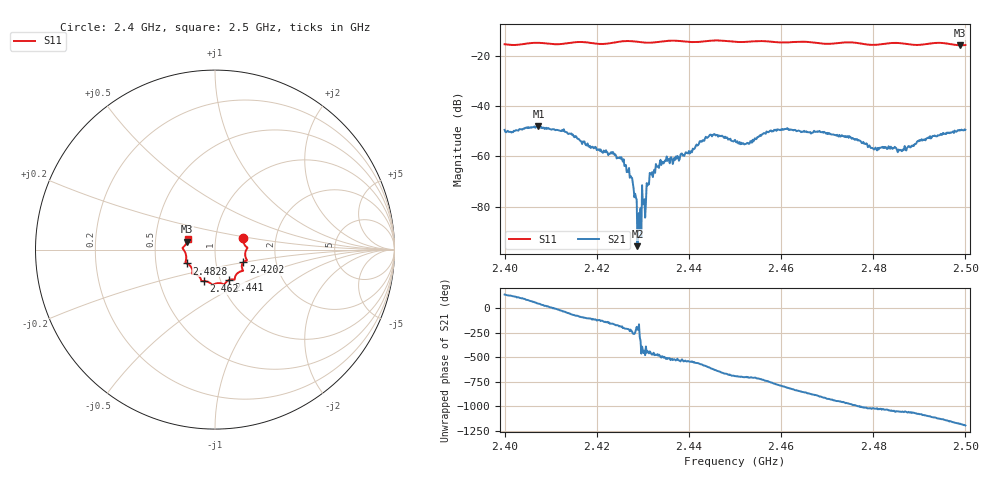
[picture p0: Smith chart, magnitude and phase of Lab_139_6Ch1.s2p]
# Hz S RI R 50
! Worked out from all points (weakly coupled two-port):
!   601 points, 2.4 GHz to 2.5 GHz, reference 50 ohm
!   highest |S21| = -47.93 dB at 2.4073 GHz (marker M1); lowest = -95.8 dB at 2.4288 GHz (marker M2)
!   lowest |S11| = -15.8 dB at 2.4988 GHz (marker M3), VSWR 1.39, Z = 36.4 + j3.3 ohm
!   |S11| at or under -10 dB: start of sweep to end of sweep
!   S12 and S22 are empty: the file has one direction only
!   S11 on the Smith chart (normalised r, x): 2.4 GHz: 1.36, +0.18; 2.4202 GHz: 1.36, -0.20; 2.441 GHz: 1.10, -0.39; 2.462 GHz: 0.84, -0.30; 2.4828 GHz: 0.72, -0.12; 2.5 GHz: 0.73, +0.09
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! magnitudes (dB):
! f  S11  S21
! 2.4 GHz  -15.4  -49.5
! 2.4073 GHz  -14.9  -47.9
! 2.4167 GHz  -14.5  -54.2
! 2.4202 GHz  -15.2  -57.4
! 2.4253 GHz  -14.3  -60.4
! 2.4273 GHz  -14.2  -67.8
! 2.4288 GHz  -14.4  -95.8
! 2.4302 GHz  -14.7  -78.3
! 2.4313 GHz  -14.8  -71.2
! 2.4333 GHz  -14.5  -64.0
! 2.441 GHz  -14.6  -57.2
! 2.445 GHz  -14.0  -52.1
! 2.45 GHz  -14.5  -53.5
! 2.4527 GHz  -14.4  -54.7
! 2.4573 GHz  -14.3  -50.3
! 2.462 GHz  -14.6  -49.5
! 2.4667 GHz  -14.6  -50.6
! 2.4828 GHz  -15.1  -56.6
! 2.4833 GHz  -15.0  -56.0
! 2.4858 GHz  -15.0  -57.5
! 2.4988 GHz  -15.8  -49.5
! 2.5 GHz  -15.7  -49.4
